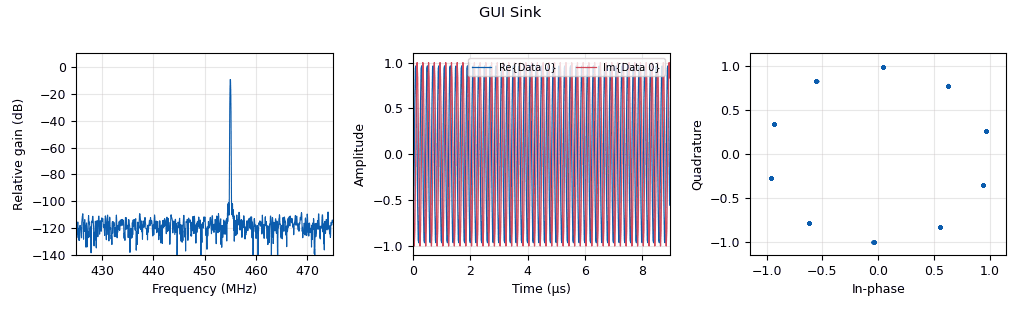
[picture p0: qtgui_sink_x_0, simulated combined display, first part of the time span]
options:
  parameters:
    generate_options: qt_gui
    id: transmit_osmocom
    output_language: python
    title: Not titled yet
  states: {}

blocks:
- name: freq
  id: variable
  parameters:
    value: freq_sweeper.sweeper(fun_prob)
  states: {}
- name: frequency
  id: variable_qtgui_label
  parameters:
    label: frequency
    type: real
    value: freq
  states: {}
- name: fun_prob
  id: variable_function_probe
  parameters:
    block_id: probSign
    function_name: level
    poll_rate: '1'
    value: '0'
  states: {}
- name: samp_rate
  id: variable
  parameters:
    value: 50e6
  states: {}
- name: analog_noise_source_x_0
  id: analog_noise_source_x
  parameters:
    amp: '0.0001'
    noise_type: analog.GR_GAUSSIAN
    seed: '0'
    type: complex
  states: {}
- name: analog_sig_source_x_0
  id: analog_sig_source_x
  parameters:
    amp: '1'
    freq: freq
    offset: '0'
    phase: '0'
    samp_rate: samp_rate
    type: complex
    waveform: analog.GR_COS_WAVE
  states: {}
- name: blocks_add_xx_0
  id: blocks_add_xx
  parameters:
    type: complex
  states: {}
- name: blocks_throttle_0
  id: blocks_throttle
  parameters:
    samples_per_second: 32e3
    type: complex
  states: {}
- name: freq_sweeper
  id: epy_module
  parameters:
    source_code: "# this module will be imported in the into your flowgraph\n\nf1 = 400e6\nf2 = 470e6\n\nf = f1\n\nstep = 1e6\n\ndef sweeper(prob_lvl):\n\tglobal f1,f2,f,step;\n\tif (prob_lvl):\n\t\tf += step;\n\tif (f >= f2):\n\t\tf = f1;\n\t\n\treturn f;\n\t\n\n"
  states: {}
- name: probSign
  id: blocks_probe_signal_x
  parameters:
    type: complex
  states: {}
- name: qtgui_sink_x_0
  id: qtgui_sink_x
  parameters:
    bw: samp_rate
    fc: 450e6
    fftsize: '1024'
    name: GUI Sink
    type: complex
  states: {}

connections:
- [analog_noise_source_x_0, '0', blocks_add_xx_0, '0']
- [analog_sig_source_x_0, '0', blocks_add_xx_0, '1']
- [blocks_add_xx_0, '0', blocks_throttle_0, '0']
- [blocks_throttle_0, '0', probSign, '0']
- [blocks_throttle_0, '0', qtgui_sink_x_0, '0']

metadata:
  file_format: 1
